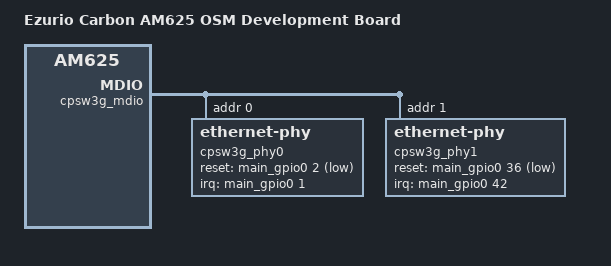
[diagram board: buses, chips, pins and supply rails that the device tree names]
// SPDX-License-Identifier: GPL-2.0-or-later OR MIT
/*
 * Copyright 2024 Ezurio LLC
 *
 */

/dts-v1/;

#include "k3-am625-carbon-som.dtsi"

/ {
	model = "Ezurio Carbon AM625 OSM Development Board";
	compatible = "ezurio,am62-dev",
		     "ti,am625";
};

&cpsw3g_mdio {
	status = "okay";

	cpsw3g_phy0: ethernet-phy@0 {
		// bootph-all;
		reg = <0>;
		pinctrl-names = "default";
                pinctrl-0 = <&main_rgmii_phy0_gpio>;
		interrupt-parent = <&main_gpio0>;
                interrupts = <1 IRQ_TYPE_EDGE_FALLING>;
		reset-gpios = <&main_gpio0 2 GPIO_ACTIVE_LOW>;
                reset-assert-us = <25>;
                reset-deassert-us = <60000>; /* T2 */
		ti,rx-internal-delay = <DP83867_RGMIIDCTL_2_25_NS>;
		ti,tx-internal-delay = <DP83867_RGMIIDCTL_2_00_NS>;
		ti,fifo-depth = <DP83867_PHYCR_FIFO_DEPTH_4_B_NIB>;
		ti,clk-output-sel = <DP83867_CLK_O_SEL_OFF>;
		// ti,max-output-impedance;
		//ti,min-output-impedance;
	};

	cpsw3g_phy1: ethernet-phy@1 {
		reg = <1>;
		pinctrl-names = "default";
		pinctrl-0 = <&main_rgmii_phy1_gpio>;
		interrupt-parent = <&main_gpio0>;
		interrupts = <42 IRQ_TYPE_EDGE_FALLING>;
		reset-gpios = <&main_gpio0 36 GPIO_ACTIVE_LOW>;
		reset-assert-us = <25>;
		reset-deassert-us = <60000>; /* T2 */
		ti,rx-internal-delay = <DP83867_RGMIIDCTL_2_00_NS>;
		ti,fifo-depth = <DP83867_PHYCR_FIFO_DEPTH_4_B_NIB>;
		ti,min-output-impedance;
	};
};


&main_pmx0 {
        main_rgmii_phy0_gpio: main-rgmii-phy0-gpio-default-pins {
                bootph-all;
                pinctrl-single,pins = <
                        AM62X_IOPAD(0x0008, PIN_INPUT_PULLDOWN, 7) /* ETH_A_RST (J24) OSPI0_DQS.GPIO0_2 */
			AM62X_IOPAD(0x0004, PIN_INPUT_PULLDOWN, 7) /* ETH_A_INT (G25) OSPI0_LBCLKO.GPIO0_1 */
                >;
        };

	main_rgmii_phy1_gpio: main-rgmii-phy1-gpio-default-pins {
		bootph-all;
		pinctrl-single,pins = <
			AM62X_IOPAD(0x0094, PIN_INPUT, 7) /* ETH_B_RST (N20) GPMC0_BE1n.GPIO0_36 */
			AM62X_IOPAD(0x00ac, PIN_INPUT, 7) /* ETH_B_INT (L21) GPMC0_CSn1.GPIO0_42 */
		>;
	};
};
